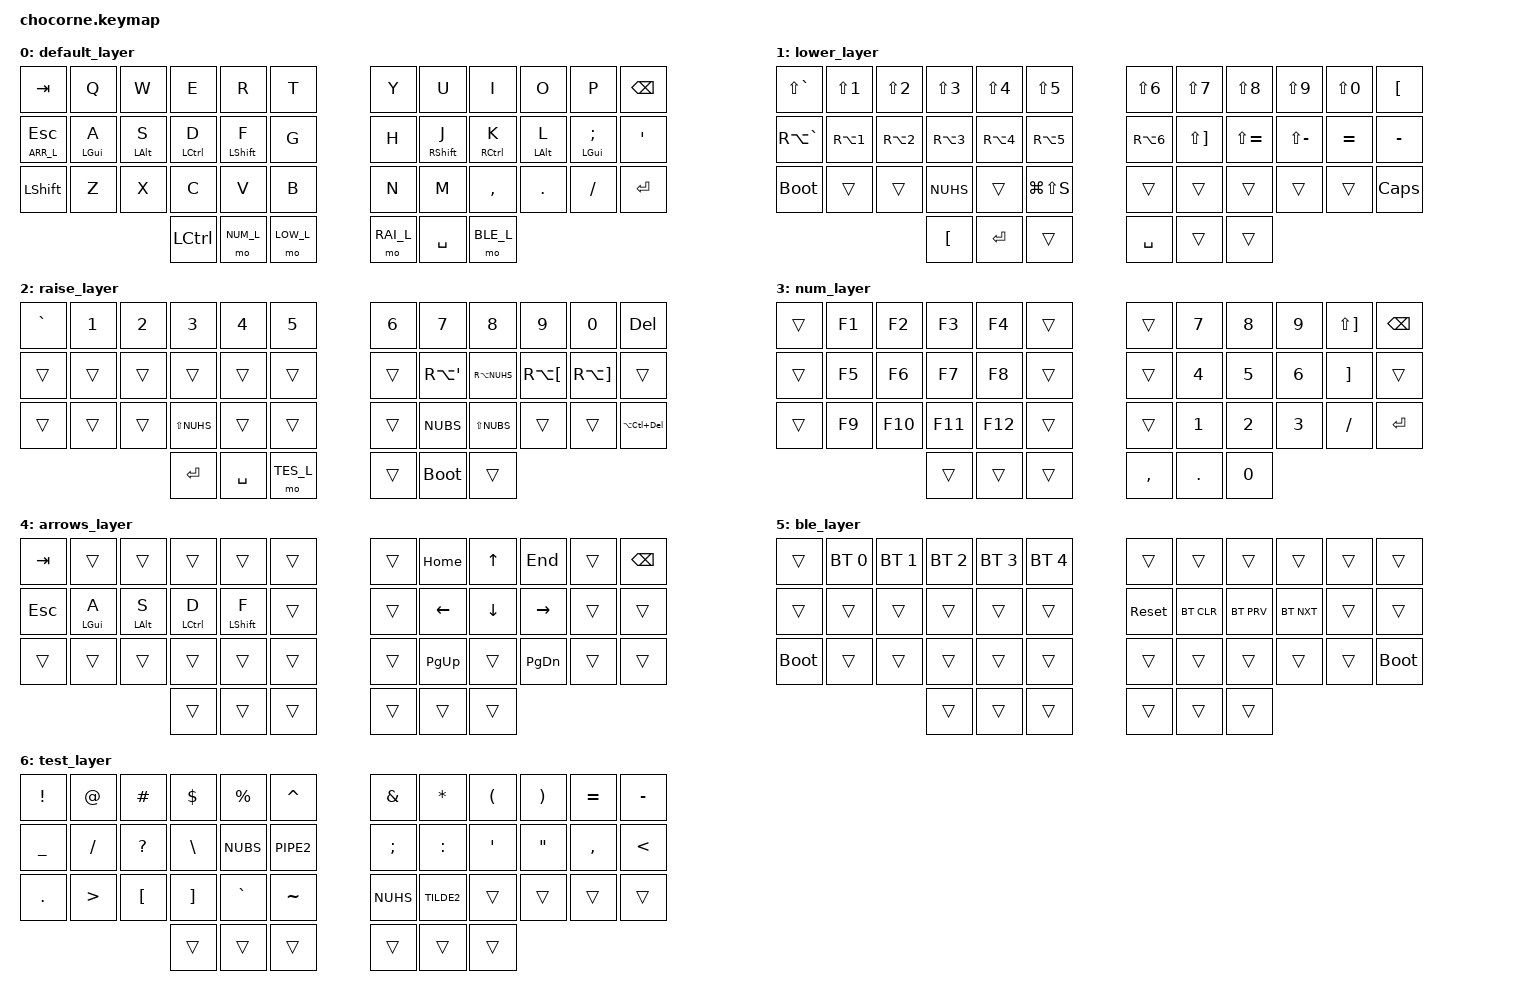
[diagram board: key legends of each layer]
/*
 * Copyright (c) 2020 The ZMK Contributors
 *
 * SPDX-License-Identifier: MIT
 */

#include <behaviors.dtsi>
#include <dt-bindings/zmk/keys.h>
#include <dt-bindings/zmk/bt.h>

#define DEF_L 0
#define LOW_L 1
#define RAI_L 2
#define NUM_L 3
#define ARR_L 4
#define BLE_L 5
#define TES_L 6


/	{
	behaviors {
		ht: hold_tap_mods_standard {
			compatible = "zmk,behavior-hold-tap";
			label = "HOMEROW_MODS";
			#binding-cells = <2>;
			tapping-term-ms = <200>;
			quick-tap-ms = <300>;
			flavor = "tap-preferred";
			bindings = <&kp>, <&kp>;
		};
        
        // hold-tap fast
		htf: hold_tap_mods_fast {
			compatible = "zmk,behavior-hold-tap";
			label = "HOMEROW_MODS";
			#binding-cells = <2>;
			tapping-term-ms = <190>;
			quick-tap-ms = <300>;
			flavor = "tap-preferred";
			bindings = <&kp>, <&kp>;
		};

        // hold-tap slow
		hts: hold_tap_mods_slow {
			compatible = "zmk,behavior-hold-tap";
			label = "HOMEROW_MODS";
			#binding-cells = <2>;
			tapping-term-ms = <250>;
			quick-tap-ms = <300>;
			flavor = "tap-preferred";
			bindings = <&kp>, <&kp>;
		};

	};


	keymap {
		compatible = "zmk,keymap";

		default_layer {
			bindings = <
				&kp TAB			&kp Q			&kp W		 	&kp E		 	&kp R		   	&kp T					&kp Y			&kp U		  	&kp I			&kp O			&kp P			&kp BKSP
				&lt ARR_L ESC	&hts LGUI A		&ht LALT S	 	&ht LCTRL D 	&htf LSHIFT F  	&kp G					&kp H			&htf RSHIFT J  	&ht RCTRL K		&ht LALT L		&hts LGUI SEMI	&kp QUOT
				&kp LSHIFT		&kp Z			&kp X		 	&kp C		 	&kp V		   	&kp B					&kp N			&kp M		  	&kp COMMA		&kp DOT			&kp FSLH		&kp ENTER
																&kp LCTRL	 	&mo NUM_L	   	&mo LOW_L				&mo RAI_L		&kp SPACE	  	&mo BLE_L
			>;
		};


		lower_layer {
			bindings = <
				&kp LS(GRAVE)	&kp LS(N1)		&kp LS(N2)	  	&kp LS(N3)		&kp LS(N4)		&kp LS(N5)	  			&kp LS(N6)		&kp LS(N7)		&kp LS(N8)		&kp LS(N9)		&kp LS(N0)		&kp LBKT
				&kp RA(GRAVE)	&kp RA(N1)		&kp RA(N2)  	&kp RA(N3)		&kp RA(N4)		&kp RA(N5)				&kp RA(N6)		&kp LS(RBKT)	&kp LS(EQUAL)	&kp LS(MINUS) 	&kp	EQUAL		&kp MINUS	
				&bootloader		&trans			&trans			&kp NUHS		&trans			&kp LG(LS(S))			&trans			&trans			&trans			&trans			&trans			&kp CAPS
																&kp LBKT		&kp ENTER		&trans					&kp SPACE		&trans 			&trans 
			>;
		};


		raise_layer {
			bindings = <
				&kp GRAVE		&kp N1			&kp N2		  	&kp N3			&kp N4			&kp N5		  			&kp N6			&kp N7			&kp N8			&kp N9			&kp N0			&kp DEL
				&trans			&trans			&trans			&trans			&trans			&trans					&trans			&kp RA(APOS)	&kp RA(NUHS)	&kp RA(LBKT)	&kp RA(RBKT)	&trans			
				&trans			&trans			&trans			&kp LS(NUHS)	&trans			&trans					&trans			&kp NUBS		&kp LS(NUBS)	&trans			&trans			&kp LA(LC(DEL))
																&kp ENTER		&kp SPACE		&mo TES_L				&trans			&bootloader		&trans 
			>;
		};


		num_layer {
			bindings = <
				&trans 			&kp F1	  		&kp F2			&kp F3			&kp F4			&trans					&trans			&kp N7			&kp N8			&kp N9			&kp LS(RBKT)	&kp BKSP
				&trans			&kp F5			&kp F6			&kp F7			&kp F8			&trans					&trans			&kp N4			&kp N5			&kp N6			&kp RBKT		&trans
				&trans			&kp F9			&kp F10			&kp F11			&kp F12			&trans					&trans			&kp N1			&kp N2			&kp N3			&kp FSLH		&kp ENTER
																&trans  		&trans 			&trans					&kp COMMA		&kp DOT			&kp N0 
			>;
		};



		arrows_layer {
			bindings = <
				&kp TAB			&trans			&trans			&trans			&trans			&trans					&trans			&kp HOME		&kp UP			&kp END			&trans			&kp BKSP
				&kp ESC			&ht LGUI A		&ht LALT S	 	&ht LCTRL D 	&ht LSHIFT F  	&trans					&trans			&kp LEFT		&kp DOWN		&kp RIGHT		&trans			&trans
				&trans			&trans			&trans			&trans			&trans			&trans					&trans			&kp PAGE_UP		&trans			&kp PAGE_DOWN	&trans			&trans
																&trans  		&trans 			&trans					&trans			&trans			&trans
			>;
		};

		ble_layer {
			bindings = <
				&trans			&bt BT_SEL 0	&bt BT_SEL 1	&bt BT_SEL 2	&bt BT_SEL 3	&bt BT_SEL 4			&trans			&trans			&trans			&trans			&trans			&trans
				&trans			&trans			&trans			&trans			&trans			&trans					&sys_reset		&bt BT_CLR		&bt BT_PRV		&bt BT_NXT		&trans			&trans
				&bootloader		&trans			&trans			&trans			&trans			&trans					&trans			&trans			&trans			&trans			&trans			&bootloader
																&trans  		&trans 			&trans					&trans			&trans			&trans
			>;
		};

		test_layer {
			bindings = <
				&kp EXCL		&kp AT			&kp POUND		&kp DLLR		&kp PRCNT		&kp CARET				&kp AMPS		&kp STAR		&kp LPAR		&kp RPAR		&kp EQUAL		&kp MINUS
				&kp UNDER		&kp FSLH		&kp QMARK		&kp BSLH		&kp NUBS		&kp PIPE2				&kp SEMI		&kp COLON		&kp SQT			&kp DQT			&kp COMMA		&kp LT
				&kp DOT			&kp GT			&kp LBKT		&kp RBKT		&kp GRAVE		&kp TILDE				&kp NUHS		&kp TILDE2		&trans			&trans			&trans			&trans
																&trans  		&trans 			&trans					&trans			&trans			&trans
			>;
		};

	};
};
